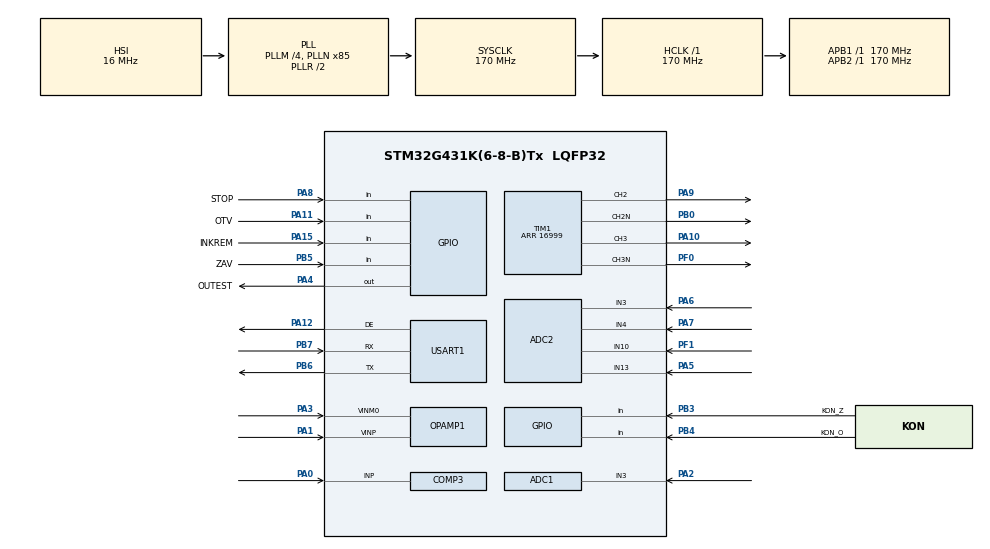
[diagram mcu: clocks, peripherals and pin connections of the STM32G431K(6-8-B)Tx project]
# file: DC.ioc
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ADC1.DMAContinuousRequests=DISABLE
ADC1.EOCSelection=ADC_EOC_SINGLE_CONV
ADC1.EnableInjectedConversion=ENABLE
ADC1.EnableRegularConversion=DISABLE
ADC1.ExternalTrigInjecConv=ADC_EXTERNALTRIGINJEC_T1_CC4
ADC1.InjNumberOfConversion=1
ADC1.InjectedChannel-1\#ChannelInjectedConversion=ADC_CHANNEL_3
ADC1.InjectedOffsetNumber-1\#ChannelInjectedConversion=ADC_OFFSET_NONE
ADC1.InjectedRank-1\#ChannelInjectedConversion=1
ADC1.InjectedSamplingTime-1\#ChannelInjectedConversion=ADC_SAMPLETIME_2CYCLES_5
ADC1.Rank1_Channel=ADC_CHANNEL_3
ADC1.master=1
ADC2.Channel-0\#ChannelRegularConversion=ADC_CHANNEL_3
ADC2.Channel-5\#ChannelRegularConversion=ADC_CHANNEL_4
ADC2.Channel-6\#ChannelRegularConversion=ADC_CHANNEL_10
ADC2.Channel-7\#ChannelRegularConversion=ADC_CHANNEL_13
ADC2.DMAContinuousRequests=ENABLE
ADC2.EOCSelection=ADC_EOC_SEQ_CONV
ADC2.EnableInjectedConversion=DISABLE
ADC2.ExternalTrigConv=ADC_EXTERNALTRIG_T4_TRGO
ADC2.NbrOfConversion=4
ADC2.NbrOfConversionFlag=1
ADC2.OffsetNumber-0\#ChannelRegularConversion=ADC_OFFSET_NONE
ADC2.OffsetNumber-5\#ChannelRegularConversion=ADC_OFFSET_NONE
ADC2.OffsetNumber-6\#ChannelRegularConversion=ADC_OFFSET_NONE
ADC2.OffsetNumber-7\#ChannelRegularConversion=ADC_OFFSET_NONE
ADC2.Rank-0\#ChannelRegularConversion=1
ADC2.Rank-5\#ChannelRegularConversion=2
ADC2.Rank-6\#ChannelRegularConversion=3
ADC2.Rank-7\#ChannelRegularConversion=4
ADC2.Rank1_Channel=ADC_CHANNEL_3
ADC2.Rank2_Channel=ADC_CHANNEL_4
ADC2.Rank3_Channel=ADC_CHANNEL_10
ADC2.Rank4_Channel=ADC_CHANNEL_13
ADC2.SamplingTime-0\#ChannelRegularConversion=ADC_SAMPLETIME_2CYCLES_5
ADC2.SamplingTime-5\#ChannelRegularConversion=ADC_SAMPLETIME_2CYCLES_5
ADC2.SamplingTime-6\#ChannelRegularConversion=ADC_SAMPLETIME_2CYCLES_5
ADC2.SamplingTime-7\#ChannelRegularConversion=ADC_SAMPLETIME_2CYCLES_5
COMP3.Hysteresis=COMP_HYSTERESIS_NONE
COMP3.OutputPol=COMP_OUTPUTPOL_NONINVERTED
COMP3.TriggerMode=COMP_TRIGGERMODE_NONE
Dma.ADC1.0.Direction=DMA_PERIPH_TO_MEMORY
Dma.ADC1.0.EventEnable=DISABLE
Dma.ADC1.0.Instance=DMA1_Channel1
Dma.ADC1.0.MemDataAlignment=DMA_MDATAALIGN_HALFWORD
Dma.ADC1.0.MemInc=DMA_MINC_ENABLE
Dma.ADC1.0.Mode=DMA_CIRCULAR
Dma.ADC1.0.PeriphDataAlignment=DMA_PDATAALIGN_HALFWORD
Dma.ADC1.0.PeriphInc=DMA_PINC_DISABLE
Dma.ADC1.0.Polarity=HAL_DMAMUX_REQ_GEN_RISING
Dma.ADC1.0.Priority=DMA_PRIORITY_LOW
Dma.ADC1.0.RequestNumber=1
Dma.ADC1.0.SignalID=NONE
Dma.ADC1.0.SyncEnable=ENABLE
Dma.ADC1.0.SyncPolarity=HAL_DMAMUX_SYNC_RISING
Dma.ADC1.0.SyncRequestNumber=1
Dma.ADC1.0.SyncSignalID=NONE
Dma.ADC2.1.Direction=DMA_PERIPH_TO_MEMORY
Dma.ADC2.1.EventEnable=DISABLE
Dma.ADC2.1.Instance=DMA1_Channel2
Dma.ADC2.1.MemDataAlignment=DMA_MDATAALIGN_HALFWORD
Dma.ADC2.1.MemInc=DMA_MINC_ENABLE
Dma.ADC2.1.Mode=DMA_CIRCULAR
Dma.ADC2.1.PeriphDataAlignment=DMA_PDATAALIGN_HALFWORD
Dma.ADC2.1.PeriphInc=DMA_PINC_DISABLE
Dma.ADC2.1.Polarity=HAL_DMAMUX_REQ_GEN_RISING
Dma.ADC2.1.Priority=DMA_PRIORITY_LOW
Dma.ADC2.1.RequestNumber=1
Dma.ADC2.1.SignalID=NONE
Dma.ADC2.1.SyncEnable=DISABLE
Dma.ADC2.1.SyncPolarity=HAL_DMAMUX_SYNC_NO_EVENT
Dma.ADC2.1.SyncRequestNumber=1
Dma.ADC2.1.SyncSignalID=NONE
Dma.Request0=ADC1
Dma.Request1=ADC2
Mcu.Family=STM32G4
Mcu.Name=STM32G431K(6-8-B)Tx
Mcu.Package=LQFP32
NVIC.DMA1_Channel1_IRQn=true\:0\:0\:false\:false\:true\:false\:true\:true
NVIC.DMA1_Channel2_IRQn=true\:0\:0\:false\:false\:true\:false\:true\:true
NVIC.DMAMUX_OVR_IRQn=true\:0\:0\:false\:false\:true\:false\:true\:true
NVIC.PriorityGroup=NVIC_PRIORITYGROUP_4
NVIC.TIM2_IRQn=true\:0\:0\:false\:false\:true\:true\:true\:true
NVIC.TIM3_IRQn=true\:0\:0\:false\:false\:true\:true\:true\:true
OPAMP1.PgaGain=OPAMP_PGA_GAIN_16_OR_MINUS_15
PA0.Mode=INP
PA0.Signal=COMP3_INP
PA1.Mode=PGA Connected
PA1.Signal=OPAMP1_VINP
PA10.Signal=S_TIM1_CH3
PA11.GPIO_Label=OTV
PA11.GPIO_PuPd=GPIO_PULLUP
PA11.Signal=GPIO_Input
PA12.Mode=Hardware Flow Control (RS485)
PA12.Signal=USART1_DE
PA13.Signal=SYS_JTMS-SWDIO
PA14.Signal=SYS_JTCK-SWCLK
PA15.GPIO_Label=INKREM
PA15.GPIO_PuPd=GPIO_PULLUP
PA15.Signal=GPIO_Input
PA2.Signal=SharedAnalog_PA2
PA3.Mode=PGA Connected
PA3.Signal=OPAMP1_VINM0
PA4.GPIO_Label=OUTEST
PA4.Signal=GPIO_Output
PA5.Mode=IN13-Single-Ended
PA5.Signal=ADC2_IN13
PA6.Mode=IN3-Single-Ended
PA6.Signal=ADC2_IN3
PA7.Mode=IN4-Single-Ended
PA7.Signal=ADC2_IN4
PA8.GPIO_Label=STOP
PA8.GPIO_PuPd=GPIO_PULLUP
PA8.Signal=GPIO_Input
PA9.Signal=S_TIM1_CH2
PB0.Mode=PWM Generation2 CH2 CH2N
PB0.Signal=TIM1_CH2N
PB3.GPIO_Label=KON_Z
PB3.GPIO_PuPd=GPIO_PULLUP
PB3.Signal=GPIO_Input
PB4.GPIO_Label=KON_O
PB4.GPIO_PuPd=GPIO_PULLUP
PB4.Signal=GPIO_Input
PB5.GPIO_Label=ZAV
PB5.GPIO_PuPd=GPIO_PULLUP
PB5.Signal=GPIO_Input
PB6.Mode=Asynchronous
PB6.Signal=USART1_TX
PB7.Mode=Asynchronous
PB7.Signal=USART1_RX
PF0-OSC_IN.Mode=PWM Generation3 CH3 CH3N
PF0-OSC_IN.Signal=TIM1_CH3N
PF1-OSC_OUT.Mode=IN10-Single-Ended
PF1-OSC_OUT.Signal=ADC2_IN10
ProjectManager.HeapSize=0x200
ProjectManager.StackSize=0x400
ProjectManager.TargetToolchain=STM32CubeIDE
RCC.ADC12Freq_Value=170000000
RCC.AHBFreq_Value=170000000
RCC.APB1Freq_Value=170000000
RCC.APB1TimFreq_Value=170000000
RCC.APB2Freq_Value=170000000
RCC.APB2TimFreq_Value=170000000
RCC.CK48CLockSelection=RCC_USBCLKSOURCE_HSI48
RCC.CortexFreq_Value=170000000
RCC.EXTERNAL_CLOCK_VALUE=12288000
RCC.HCLKFreq_Value=170000000
RCC.HSE_VALUE=8000000
RCC.HSI48_VALUE=48000000
RCC.HSI_VALUE=16000000
RCC.LSE_VALUE=32768
RCC.PLLM=RCC_PLLM_DIV4
RCC.PLLN=85
RCC.SYSCLKFreq_VALUE=170000000
RCC.SYSCLKSource=RCC_SYSCLKSOURCE_PLLCLK
RCC.USBFreq_Value=48000000
RCC.VCOOutputFreq_Value=340000000
SH.S_TIM1_CH2.0=TIM1_CH2,PWM Generation2 CH2 CH2N
SH.S_TIM1_CH3.0=TIM1_CH3,PWM Generation3 CH3 CH3N
SH.SharedAnalog_PA2.0=GPIO_Analog
SH.SharedAnalog_PA2.1=ADC1_IN3,IN3-Single-Ended
SH.SharedAnalog_PA2.2=OPAMP1_VOUT,PGA Connected
TIM1.AutomaticOutput=TIM_AUTOMATICOUTPUT_ENABLE
TIM1.Channel-Output\ Compare4\ No\ Output=TIM_CHANNEL_4
TIM1.Channel-PWM\ Generation2\ CH2\ CH2N=TIM_CHANNEL_2
TIM1.Channel-PWM\ Generation3\ CH3\ CH3N=TIM_CHANNEL_3
TIM1.PeriodNoDither=16999
TIM1.TIM_MasterOutputTrigger=TIM_TRGO_UPDATE
TIM2.PeriodNoDither=2499
TIM2.Prescaler=16999
TIM3.PeriodNoDither=9
TIM3.Prescaler=16999
TIM4.PeriodNoDither=249
TIM4.Prescaler=16999
TIM4.TIM_MasterOutputTrigger=TIM_TRGO_UPDATE
TIM4.TIM_MasterSlaveMode=TIM_MASTERSLAVEMODE_DISABLE
USART1.VirtualMode-Asynchronous=VM_ASYNC
USART1.VirtualMode-Hardware\ Flow\ Control\ (RS485)=VM_ASYNC
VP_COMP3_VS_DAC1OUT1.Mode=INM_DAC1OUT1
VP_DAC1_VS_DACI1.Mode=DAC_OUT1_Int
VP_SYS_VS_DBSignals.Mode=DisableDeadBatterySignals
VP_TIM1_VS_ClockSourceINT.Mode=Internal
VP_TIM1_VS_no_output4.Mode=Output Compare4 No Output
VP_TIM2_VS_ClockSourceINT.Mode=Internal
VP_TIM3_VS_ClockSourceINT.Mode=Internal
VP_TIM4_VS_ClockSourceINT.Mode=Internal
board=custom

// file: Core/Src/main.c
/* USER CODE BEGIN Header */
/**
  ******************************************************************************
  * @file           : main.c
  * @brief          : Main program body
  ******************************************************************************
  * @attention
  *
  * Copyright (c) 2026 STMicroelectronics.
  * All rights reserved.
  *
  * This software is licensed under terms that can be found in the LICENSE file
  * in the root directory of this software component.
  * If no LICENSE file comes with this software, it is provided AS-IS.
  *
  ******************************************************************************
  */
/* USER CODE END Header */
#include "main.h"

/* USER CODE BEGIN Includes */
#include "motor.h"
/* USER CODE END Includes */

ADC_HandleTypeDef hadc1;
ADC_HandleTypeDef hadc2;
DMA_HandleTypeDef hdma_adc1;
DMA_HandleTypeDef hdma_adc2;

COMP_HandleTypeDef hcomp3;

DAC_HandleTypeDef hdac1;

OPAMP_HandleTypeDef hopamp1;

TIM_HandleTypeDef htim1;
TIM_HandleTypeDef htim2;
TIM_HandleTypeDef htim3;
TIM_HandleTypeDef htim4;

UART_HandleTypeDef huart1;

/* USER CODE BEGIN PV */
int atest;
ADC_ChannelConfTypeDef newConfig;
volatile uint16_t ADC1_LastValue = 0U;
volatile uint16_t ADC1_DMA_Buffer[ADC1_DMA_BUFFER_LENGTH];
volatile uint16_t ADC2_DMA_Buffer[ADC2_DMA_BUFFER_LENGTH];
volatile uint32_t ADC1_Sum = 0U;
volatile uint32_t ADC1_MaxSum = 0U;
static volatile bool ADC2READY;
volatile uint32_t ADC1_CallbackCount = 0;
volatile uint32_t ADC2_CallbackCount = 0;
/* USER CODE END PV */

void SystemClock_Config(void);
static void MX_GPIO_Init(void);
static void MX_DMA_Init(void);
static void MX_TIM1_Init(void);
static void MX_OPAMP1_Init(void);
static void MX_ADC2_Init(void);
static void MX_COMP3_Init(void);
static void MX_ADC1_Init(void);
static void MX_USART1_UART_Init(void);
static void MX_TIM2_Init(void);
static void MX_TIM3_Init(void);
static void MX_DAC1_Init(void);
static void MX_TIM4_Init(void);

int main(void)
{

  /* MCU Configuration--------------------------------------------------------*/

  /* Reset of all peripherals, Initializes the Flash interface and the Systick. */
  HAL_Init();

  /* Configure the system clock */
  SystemClock_Config();

  /* Initialize all configured peripherals */
  MX_GPIO_Init();
  MX_DMA_Init();
  MX_TIM1_Init();
  MX_OPAMP1_Init();
  MX_ADC2_Init();
  MX_COMP3_Init();
  MX_ADC1_Init();
  MX_USART1_UART_Init();
  MX_TIM2_Init();
  MX_TIM3_Init();
  MX_DAC1_Init();
  MX_TIM4_Init();
  /* USER CODE BEGIN 2 */

  __HAL_TIM_SET_COMPARE(&htim1, TIM_CHANNEL_4, 0U);
  __HAL_TIM_SET_COMPARE(&htim1, TIM_CHANNEL_5, MOTOR_COMP_BLANKING_TICKS);
  /* Nastavení konstantního prahu COMP3 pomocí DAC1_CH1 */
  if (HAL_DAC_Start(&hdac1, DAC_CHANNEL_1) != HAL_OK)
  { Error_Handler(); }
  if (HAL_DAC_SetValue(&hdac1, DAC_CHANNEL_1, DAC_ALIGN_12B_R, MOTOR_COMP_THRESHOLD_DAC) != HAL_OK)
  { Error_Handler(); }

  HAL_OPAMP_Start(&hopamp1);
  if (HAL_ADC_Start_DMA(&hadc1, (uint32_t *)ADC1_DMA_Buffer, ADC1_DMA_BUFFER_LENGTH) != HAL_OK)
  { Error_Handler(); }
  __HAL_DMA_DISABLE_IT(&hdma_adc1, DMA_IT_HT);
  if (HAL_ADC_Start_DMA(&hadc2, (uint32_t *)ADC2_DMA_Buffer, ADC2_DMA_BUFFER_LENGTH) != HAL_OK)
    { Error_Handler(); }
    __HAL_DMA_DISABLE_IT(&hdma_adc2, DMA_IT_HT);
  HAL_COMP_Start(&hcomp3);//t
  HAL_TIM_PWM_Start(&htim1, TIM_CHANNEL_4);
  HAL_TIM_PWM_Start(&htim1, TIM_CHANNEL_5);
  HAL_TIM_PWM_Start(&htim1, TIM_CHANNEL_2);
  HAL_TIMEx_PWMN_Start(&htim1, TIM_CHANNEL_2);
  HAL_TIM_PWM_Start(&htim1, TIM_CHANNEL_3);
  HAL_TIMEx_PWMN_Start(&htim1, TIM_CHANNEL_3);
  HAL_TIM_Base_Start_IT(&htim2);
  HAL_TIM_Base_Start_IT(&htim3);
  HAL_TIM_Base_Start(&htim4);
  /* USER CODE END 2 */

  /* Infinite loop */
  while (1)
  {

    /* USER CODE BEGIN 3 */
	  atest++;
	  if(ADC2READY)
	  {
	 	ADC2calc();
	 	ADC2READY= false;
	  }
  }
  /* USER CODE END 3 */
}

void SystemClock_Config(void)
{
  RCC_OscInitTypeDef RCC_OscInitStruct = {0};
  RCC_ClkInitTypeDef RCC_ClkInitStruct = {0};

  /** Configure the main internal regulator output voltage
  */
  HAL_PWREx_ControlVoltageScaling(PWR_REGULATOR_VOLTAGE_SCALE1_BOOST);

  /** Initializes the RCC Oscillators according to the specified parameters
  * in the RCC_OscInitTypeDef structure.
  */
  RCC_OscInitStruct.OscillatorType = RCC_OSCILLATORTYPE_HSI;
  RCC_OscInitStruct.HSIState = RCC_HSI_ON;
  RCC_OscInitStruct.HSICalibrationValue = RCC_HSICALIBRATION_DEFAULT;
  RCC_OscInitStruct.PLL.PLLState = RCC_PLL_ON;
  RCC_OscInitStruct.PLL.PLLSource = RCC_PLLSOURCE_HSI;
  RCC_OscInitStruct.PLL.PLLM = RCC_PLLM_DIV4;
  RCC_OscInitStruct.PLL.PLLN = 85;
  RCC_OscInitStruct.PLL.PLLP = RCC_PLLP_DIV2;
  RCC_OscInitStruct.PLL.PLLQ = RCC_PLLQ_DIV2;
  RCC_OscInitStruct.PLL.PLLR = RCC_PLLR_DIV2;
  if (HAL_RCC_OscConfig(&RCC_OscInitStruct) != HAL_OK)
  {
    Error_Handler();
  }

  /** Initializes the CPU, AHB and APB buses clocks
  */
  RCC_ClkInitStruct.ClockType = RCC_CLOCKTYPE_HCLK|RCC_CLOCKTYPE_SYSCLK
                              |RCC_CLOCKTYPE_PCLK1|RCC_CLOCKTYPE_PCLK2;
  RCC_ClkInitStruct.SYSCLKSource = RCC_SYSCLKSOURCE_PLLCLK;
  RCC_ClkInitStruct.AHBCLKDivider = RCC_SYSCLK_DIV1;
  RCC_ClkInitStruct.APB1CLKDivider = RCC_HCLK_DIV1;
  RCC_ClkInitStruct.APB2CLKDivider = RCC_HCLK_DIV1;

  if (HAL_RCC_ClockConfig(&RCC_ClkInitStruct, FLASH_LATENCY_4) != HAL_OK)
  {
    Error_Handler();
  }
}

static void MX_ADC1_Init(void)
{

  ADC_MultiModeTypeDef multimode = {0};
  ADC_InjectionConfTypeDef sConfigInjected = {0};

  /** Common config
  */
  hadc1.Instance = ADC1;
  hadc1.Init.ClockPrescaler = ADC_CLOCK_SYNC_PCLK_DIV4;
  hadc1.Init.Resolution = ADC_RESOLUTION_12B;
  hadc1.Init.DataAlign = ADC_DATAALIGN_RIGHT;
  hadc1.Init.GainCompensation = 0;
  hadc1.Init.ScanConvMode = ADC_SCAN_DISABLE;
  hadc1.Init.EOCSelection = ADC_EOC_SINGLE_CONV;
  hadc1.Init.LowPowerAutoWait = DISABLE;
  hadc1.Init.ContinuousConvMode = DISABLE;
  hadc1.Init.NbrOfConversion = 1;
  hadc1.Init.DiscontinuousConvMode = DISABLE;
  hadc1.Init.DMAContinuousRequests = DISABLE;
  hadc1.Init.Overrun = ADC_OVR_DATA_PRESERVED;
  hadc1.Init.OversamplingMode = DISABLE;
  if (HAL_ADC_Init(&hadc1) != HAL_OK)
  {
    Error_Handler();
  }

  /** Configure the ADC multi-mode
  */
  multimode.Mode = ADC_MODE_INDEPENDENT;
  if (HAL_ADCEx_MultiModeConfigChannel(&hadc1, &multimode) != HAL_OK)
  {
    Error_Handler();
  }

  /** Configure Injected Channel
  */
  sConfigInjected.InjectedChannel = ADC_CHANNEL_3;
  sConfigInjected.InjectedRank = ADC_INJECTED_RANK_1;
  sConfigInjected.InjectedSamplingTime = ADC_SAMPLETIME_2CYCLES_5;
  sConfigInjected.InjectedSingleDiff = ADC_SINGLE_ENDED;
  sConfigInjected.InjectedOffsetNumber = ADC_OFFSET_NONE;
  sConfigInjected.InjectedOffset = 0;
  sConfigInjected.InjectedNbrOfConversion = 1;
  sConfigInjected.InjectedDiscontinuousConvMode = DISABLE;
  sConfigInjected.AutoInjectedConv = DISABLE;
  sConfigInjected.QueueInjectedContext = DISABLE;
  sConfigInjected.ExternalTrigInjecConv = ADC_EXTERNALTRIGINJEC_T1_CC4;
  sConfigInjected.ExternalTrigInjecConvEdge = ADC_EXTERNALTRIGINJECCONV_EDGE_RISING;
  sConfigInjected.InjecOversamplingMode = DISABLE;
  if (HAL_ADCEx_InjectedConfigChannel(&hadc1, &sConfigInjected) != HAL_OK)
  {
    Error_Handler();
  }

}

static void MX_ADC2_Init(void)
{

  ADC_ChannelConfTypeDef sConfig = {0};

  /** Common config
  */
  hadc2.Instance = ADC2;
  hadc2.Init.ClockPrescaler = ADC_CLOCK_SYNC_PCLK_DIV4;
  hadc2.Init.Resolution = ADC_RESOLUTION_12B;
  hadc2.Init.DataAlign = ADC_DATAALIGN_RIGHT;
  hadc2.Init.GainCompensation = 0;
  hadc2.Init.ScanConvMode = ADC_SCAN_ENABLE;
  hadc2.Init.EOCSelection = ADC_EOC_SEQ_CONV;
  hadc2.Init.LowPowerAutoWait = DISABLE;
  hadc2.Init.ContinuousConvMode = DISABLE;
  hadc2.Init.NbrOfConversion = 4;
  hadc2.Init.DiscontinuousConvMode = DISABLE;
  hadc2.Init.ExternalTrigConv = ADC_EXTERNALTRIG_T4_TRGO;
  hadc2.Init.ExternalTrigConvEdge = ADC_EXTERNALTRIGCONVEDGE_RISING;
  hadc2.Init.DMAContinuousRequests = ENABLE;
  hadc2.Init.Overrun = ADC_OVR_DATA_PRESERVED;
  hadc2.Init.OversamplingMode = DISABLE;
  if (HAL_ADC_Init(&hadc2) != HAL_OK)
  {
    Error_Handler();
  }

  /** Configure Regular Channel
  */
  sConfig.Channel = ADC_CHANNEL_3;
  sConfig.Rank = ADC_REGULAR_RANK_1;
  sConfig.SamplingTime = ADC_SAMPLETIME_2CYCLES_5;
  sConfig.SingleDiff = ADC_SINGLE_ENDED;
  sConfig.OffsetNumber = ADC_OFFSET_NONE;
  sConfig.Offset = 0;
  if (HAL_ADC_ConfigChannel(&hadc2, &sConfig) != HAL_OK)
  {
    Error_Handler();
  }

  /** Configure Regular Channel
  */
  sConfig.Channel = ADC_CHANNEL_4;
  sConfig.Rank = ADC_REGULAR_RANK_2;
  if (HAL_ADC_ConfigChannel(&hadc2, &sConfig) != HAL_OK)
  {
    Error_Handler();
  }

  /** Configure Regular Channel
  */
  sConfig.Channel = ADC_CHANNEL_10;
  sConfig.Rank = ADC_REGULAR_RANK_3;
  if (HAL_ADC_ConfigChannel(&hadc2, &sConfig) != HAL_OK)
  {
    Error_Handler();
  }

  /** Configure Regular Channel
  */
  sConfig.Channel = ADC_CHANNEL_13;
  sConfig.Rank = ADC_REGULAR_RANK_4;
  if (HAL_ADC_ConfigChannel(&hadc2, &sConfig) != HAL_OK)
  {
    Error_Handler();
  }
  /* USER CODE BEGIN ADC2_Init 2 */
  newConfig= sConfig;

  /* USER CODE END ADC2_Init 2 */

}

static void MX_COMP3_Init(void)
{

  /* USER CODE BEGIN COMP3_Init 1 */
  //	hcomp3.Init.BlankingSrce =COMP_BLANKINGSRC_TIM1_OC5_COMP3;
  /* USER CODE END COMP3_Init 1 */
  hcomp3.Instance = COMP3;
  hcomp3.Init.InputPlus = COMP_INPUT_PLUS_IO1;
  hcomp3.Init.InputMinus = COMP_INPUT_MINUS_DAC1_CH1;
  hcomp3.Init.OutputPol = COMP_OUTPUTPOL_NONINVERTED;
  hcomp3.Init.Hysteresis = COMP_HYSTERESIS_NONE;
  hcomp3.Init.BlankingSrce = COMP_BLANKINGSRC_NONE;
  hcomp3.Init.TriggerMode = COMP_TRIGGERMODE_NONE;
  if (HAL_COMP_Init(&hcomp3) != HAL_OK)
  {
    Error_Handler();
  }
  /* USER CODE BEGIN COMP3_Init 2 */

 //hcomp3.Init.BlankingSrce =COMP_BLANKINGSRC_TIM1_OC5_COMP3;
  MODIFY_REG(COMP3->CSR, COMP_CSR_BLANKING, COMP_BLANKINGSRC_TIM1_OC5_COMP3);
  /* USER CODE END COMP3_Init 2 */

}

static void MX_DAC1_Init(void)
{

  DAC_ChannelConfTypeDef sConfig = {0};

  /** DAC Initialization
  */
  hdac1.Instance = DAC1;
  if (HAL_DAC_Init(&hdac1) != HAL_OK)
  {
    Error_Handler();
  }

  /** DAC channel OUT1 config
  */
  sConfig.DAC_HighFrequency = DAC_HIGH_FREQUENCY_INTERFACE_MODE_AUTOMATIC;
  sConfig.DAC_DMADoubleDataMode = DISABLE;
  sConfig.DAC_SignedFormat = DISABLE;
  sConfig.DAC_SampleAndHold = DAC_SAMPLEANDHOLD_DISABLE;
  sConfig.DAC_Trigger = DAC_TRIGGER_NONE;
  sConfig.DAC_Trigger2 = DAC_TRIGGER_NONE;
  sConfig.DAC_OutputBuffer = DAC_OUTPUTBUFFER_DISABLE;
  sConfig.DAC_ConnectOnChipPeripheral = DAC_CHIPCONNECT_INTERNAL;
  sConfig.DAC_UserTrimming = DAC_TRIMMING_FACTORY;
  if (HAL_DAC_ConfigChannel(&hdac1, &sConfig, DAC_CHANNEL_1) != HAL_OK)
  {
    Error_Handler();
  }

}

static void MX_OPAMP1_Init(void)
{

  hopamp1.Instance = OPAMP1;
  hopamp1.Init.PowerMode = OPAMP_POWERMODE_NORMALSPEED;
  hopamp1.Init.Mode = OPAMP_PGA_MODE;
  hopamp1.Init.NonInvertingInput = OPAMP_NONINVERTINGINPUT_IO0;
  hopamp1.Init.InternalOutput = DISABLE;
  hopamp1.Init.TimerControlledMuxmode = OPAMP_TIMERCONTROLLEDMUXMODE_DISABLE;
  hopamp1.Init.PgaConnect = OPAMP_PGA_CONNECT_INVERTINGINPUT_IO0;
  hopamp1.Init.PgaGain = OPAMP_PGA_GAIN_16_OR_MINUS_15;
  hopamp1.Init.UserTrimming = OPAMP_TRIMMING_FACTORY;
  if (HAL_OPAMP_Init(&hopamp1) != HAL_OK)
  {
    Error_Handler();
  }
  /* USER CODE BEGIN OPAMP1_Init 2 */
  //hopamp1.Init.InternalOutput = DISABLE;
  /* USER CODE END OPAMP1_Init 2 */

}

static void MX_TIM1_Init(void)
{

  TIM_ClockConfigTypeDef sClockSourceConfig = {0};
  TIM_MasterConfigTypeDef sMasterConfig = {0};
  TIM_OC_InitTypeDef sConfigOC = {0};
  TIM_BreakDeadTimeConfigTypeDef sBreakDeadTimeConfig = {0};

  htim1.Instance = TIM1;
  htim1.Init.Prescaler = 0;
  htim1.Init.CounterMode = TIM_COUNTERMODE_UP;
  htim1.Init.Period = 16999;
  htim1.Init.ClockDivision = TIM_CLOCKDIVISION_DIV1;
  htim1.Init.RepetitionCounter = 0;
  htim1.Init.AutoReloadPreload = TIM_AUTORELOAD_PRELOAD_DISABLE;
  if (HAL_TIM_Base_Init(&htim1) != HAL_OK)
  {
    Error_Handler();
  }
  sClockSourceConfig.ClockSource = TIM_CLOCKSOURCE_INTERNAL;
  if (HAL_TIM_ConfigClockSource(&htim1, &sClockSourceConfig) != HAL_OK)
  {
    Error_Handler();
  }
  if (HAL_TIM_PWM_Init(&htim1) != HAL_OK)
  {
    Error_Handler();
  }
  if (HAL_TIM_OC_Init(&htim1) != HAL_OK)
  {
    Error_Handler();
  }
  sMasterConfig.MasterOutputTrigger = TIM_TRGO_UPDATE;
  sMasterConfig.MasterOutputTrigger2 = TIM_TRGO2_RESET;
  sMasterConfig.MasterSlaveMode = TIM_MASTERSLAVEMODE_DISABLE;
  if (HAL_TIMEx_MasterConfigSynchronization(&htim1, &sMasterConfig) != HAL_OK)
  {
    Error_Handler();
  }
  sConfigOC.OCMode = TIM_OCMODE_PWM1;
  sConfigOC.Pulse = 0;
  sConfigOC.OCPolarity = TIM_OCPOLARITY_HIGH;
  sConfigOC.OCNPolarity = TIM_OCNPOLARITY_HIGH;
  sConfigOC.OCFastMode = TIM_OCFAST_DISABLE;
  sConfigOC.OCIdleState = TIM_OCIDLESTATE_RESET;
  sConfigOC.OCNIdleState = TIM_OCNIDLESTATE_RESET;
  if (HAL_TIM_PWM_ConfigChannel(&htim1, &sConfigOC, TIM_CHANNEL_2) != HAL_OK)
  {
    Error_Handler();
  }
  if (HAL_TIM_PWM_ConfigChannel(&htim1, &sConfigOC, TIM_CHANNEL_3) != HAL_OK)
  {
    Error_Handler();
  }
  sConfigOC.OCMode = TIM_OCMODE_TIMING;
  if (HAL_TIM_OC_ConfigChannel(&htim1, &sConfigOC, TIM_CHANNEL_4) != HAL_OK)
  {
    Error_Handler();
  }
  sBreakDeadTimeConfig.OffStateRunMode = TIM_OSSR_DISABLE;
  sBreakDeadTimeConfig.OffStateIDLEMode = TIM_OSSI_DISABLE;
  sBreakDeadTimeConfig.LockLevel = TIM_LOCKLEVEL_OFF;
  sBreakDeadTimeConfig.DeadTime = 0;
  sBreakDeadTimeConfig.BreakState = TIM_BREAK_DISABLE;
  sBreakDeadTimeConfig.BreakPolarity = TIM_BREAKPOLARITY_HIGH;
  sBreakDeadTimeConfig.BreakFilter = 0;
  sBreakDeadTimeConfig.BreakAFMode = TIM_BREAK_AFMODE_INPUT;
  sBreakDeadTimeConfig.Break2State = TIM_BREAK2_DISABLE;
  sBreakDeadTimeConfig.Break2Polarity = TIM_BREAK2POLARITY_HIGH;
  sBreakDeadTimeConfig.Break2Filter = 0;
  sBreakDeadTimeConfig.Break2AFMode = TIM_BREAK_AFMODE_INPUT;
  sBreakDeadTimeConfig.AutomaticOutput = TIM_AUTOMATICOUTPUT_ENABLE;
  if (HAL_TIMEx_ConfigBreakDeadTime(&htim1, &sBreakDeadTimeConfig) != HAL_OK)
  {
    Error_Handler();
  }
  /* USER CODE BEGIN TIM1_Init 2 */
  TIM_ClearInputConfigTypeDef sClearInputConfig = {0};

  sConfigOC.OCMode = TIM_OCMODE_PWM1;
  sConfigOC.Pulse = MOTOR_COMP_BLANKING_TICKS;
  if (HAL_TIM_PWM_ConfigChannel(&htim1, &sConfigOC, TIM_CHANNEL_5) != HAL_OK)
  {
    Error_Handler();
  }

  sClearInputConfig.ClearInputState = ENABLE;
  sClearInputConfig.ClearInputSource = TIM_CLEARINPUTSOURCE_COMP3;
  sClearInputConfig.ClearInputPolarity = TIM_CLEARINPUTPOLARITY_NONINVERTED;
  sClearInputConfig.ClearInputPrescaler = TIM_CLEARINPUTPRESCALER_DIV1;
  sClearInputConfig.ClearInputFilter = 2;

  if (HAL_TIM_ConfigOCrefClear(&htim1, &sClearInputConfig, TIM_CHANNEL_2) != HAL_OK)
  {
    Error_Handler();
  }
  if (HAL_TIM_ConfigOCrefClear(&htim1, &sClearInputConfig, TIM_CHANNEL_3) != HAL_OK)
  {
    Error_Handler();
  }

  /* USER CODE END TIM1_Init 2 */
  HAL_TIM_MspPostInit(&htim1);

}

static void MX_TIM2_Init(void)
{

  TIM_ClockConfigTypeDef sClockSourceConfig = {0};
  TIM_MasterConfigTypeDef sMasterConfig = {0};

  htim2.Instance = TIM2;
  htim2.Init.Prescaler = 16999;
  htim2.Init.CounterMode = TIM_COUNTERMODE_UP;
  htim2.Init.Period = 2499;
  htim2.Init.ClockDivision = TIM_CLOCKDIVISION_DIV1;
  htim2.Init.AutoReloadPreload = TIM_AUTORELOAD_PRELOAD_DISABLE;
  if (HAL_TIM_Base_Init(&htim2) != HAL_OK)
  {
    Error_Handler();
  }
  sClockSourceConfig.ClockSource = TIM_CLOCKSOURCE_INTERNAL;
  if (HAL_TIM_ConfigClockSource(&htim2, &sClockSourceConfig) != HAL_OK)
  {
    Error_Handler();
  }
  sMasterConfig.MasterOutputTrigger = TIM_TRGO_RESET;
  sMasterConfig.MasterSlaveMode = TIM_MASTERSLAVEMODE_DISABLE;
  if (HAL_TIMEx_MasterConfigSynchronization(&htim2, &sMasterConfig) != HAL_OK)
  {
    Error_Handler();
  }

}

static void MX_TIM3_Init(void)
{

  TIM_ClockConfigTypeDef sClockSourceConfig = {0};
  TIM_MasterConfigTypeDef sMasterConfig = {0};

  htim3.Instance = TIM3;
  htim3.Init.Prescaler = 16999;
  htim3.Init.CounterMode = TIM_COUNTERMODE_UP;
  htim3.Init.Period = 9;
  htim3.Init.ClockDivision = TIM_CLOCKDIVISION_DIV1;
  htim3.Init.AutoReloadPreload = TIM_AUTORELOAD_PRELOAD_DISABLE;
  if (HAL_TIM_Base_Init(&htim3) != HAL_OK)
  {
    Error_Handler();
  }
  sClockSourceConfig.ClockSource = TIM_CLOCKSOURCE_INTERNAL;
  if (HAL_TIM_ConfigClockSource(&htim3, &sClockSourceConfig) != HAL_OK)
  {
    Error_Handler();
  }
  sMasterConfig.MasterOutputTrigger = TIM_TRGO_RESET;
  sMasterConfig.MasterSlaveMode = TIM_MASTERSLAVEMODE_DISABLE;
  if (HAL_TIMEx_MasterConfigSynchronization(&htim3, &sMasterConfig) != HAL_OK)
  {
    Error_Handler();
  }

}

static void MX_TIM4_Init(void)
{

  TIM_ClockConfigTypeDef sClockSourceConfig = {0};
  TIM_MasterConfigTypeDef sMasterConfig = {0};

  htim4.Instance = TIM4;
  htim4.Init.Prescaler = 16999;
  htim4.Init.CounterMode = TIM_COUNTERMODE_UP;
  htim4.Init.Period = 249;
  htim4.Init.ClockDivision = TIM_CLOCKDIVISION_DIV1;
  htim4.Init.AutoReloadPreload = TIM_AUTORELOAD_PRELOAD_DISABLE;
  if (HAL_TIM_Base_Init(&htim4) != HAL_OK)
  {
    Error_Handler();
  }
  sClockSourceConfig.ClockSource = TIM_CLOCKSOURCE_INTERNAL;
  if (HAL_TIM_ConfigClockSource(&htim4, &sClockSourceConfig) != HAL_OK)
  {
    Error_Handler();
  }
  sMasterConfig.MasterOutputTrigger = TIM_TRGO_UPDATE;
  sMasterConfig.MasterSlaveMode = TIM_MASTERSLAVEMODE_DISABLE;
  if (HAL_TIMEx_MasterConfigSynchronization(&htim4, &sMasterConfig) != HAL_OK)
  {
    Error_Handler();
  }

}

static void MX_USART1_UART_Init(void)
{

  huart1.Instance = USART1;
  huart1.Init.BaudRate = 115200;
  huart1.Init.WordLength = UART_WORDLENGTH_8B;
  huart1.Init.StopBits = UART_STOPBITS_1;
  huart1.Init.Parity = UART_PARITY_NONE;
  huart1.Init.Mode = UART_MODE_TX_RX;
  huart1.Init.HwFlowCtl = UART_HWCONTROL_NONE;
  huart1.Init.OverSampling = UART_OVERSAMPLING_16;
  huart1.Init.OneBitSampling = UART_ONE_BIT_SAMPLE_DISABLE;
  huart1.Init.ClockPrescaler = UART_PRESCALER_DIV1;
  huart1.AdvancedInit.AdvFeatureInit = UART_ADVFEATURE_NO_INIT;
  if (HAL_RS485Ex_Init(&huart1, UART_DE_POLARITY_HIGH, 0, 0) != HAL_OK)
  {
    Error_Handler();
  }
  if (HAL_UARTEx_SetTxFifoThreshold(&huart1, UART_TXFIFO_THRESHOLD_1_8) != HAL_OK)
  {
    Error_Handler();
  }
  if (HAL_UARTEx_SetRxFifoThreshold(&huart1, UART_RXFIFO_THRESHOLD_1_8) != HAL_OK)
  {
    Error_Handler();
  }
  if (HAL_UARTEx_DisableFifoMode(&huart1) != HAL_OK)
  {
    Error_Handler();
  }

}

static void MX_DMA_Init(void)
{

  /* DMA controller clock enable */
  __HAL_RCC_DMAMUX1_CLK_ENABLE();
  __HAL_RCC_DMA1_CLK_ENABLE();

  /* DMA interrupt init */
  /* DMA1_Channel1_IRQn interrupt configuration */
  HAL_NVIC_SetPriority(DMA1_Channel1_IRQn, 0, 0);
  HAL_NVIC_EnableIRQ(DMA1_Channel1_IRQn);
  /* DMA1_Channel2_IRQn interrupt configuration */
  HAL_NVIC_SetPriority(DMA1_Channel2_IRQn, 0, 0);
  HAL_NVIC_EnableIRQ(DMA1_Channel2_IRQn);
  /* DMAMUX_OVR_IRQn interrupt configuration */
  HAL_NVIC_SetPriority(DMAMUX_OVR_IRQn, 0, 0);
  HAL_NVIC_EnableIRQ(DMAMUX_OVR_IRQn);

}

static void MX_GPIO_Init(void)
{
  GPIO_InitTypeDef GPIO_InitStruct = {0};

  /* GPIO Ports Clock Enable */
  __HAL_RCC_GPIOF_CLK_ENABLE();
  __HAL_RCC_GPIOA_CLK_ENABLE();
  __HAL_RCC_GPIOB_CLK_ENABLE();

  /*Configure GPIO pin Output Level */
  HAL_GPIO_WritePin(OUTEST_GPIO_Port, OUTEST_Pin, GPIO_PIN_RESET);

  /*Configure GPIO pin : OUTEST_Pin */
  GPIO_InitStruct.Pin = OUTEST_Pin;
  GPIO_InitStruct.Mode = GPIO_MODE_OUTPUT_PP;
  GPIO_InitStruct.Pull = GPIO_NOPULL;
  GPIO_InitStruct.Speed = GPIO_SPEED_FREQ_LOW;
  HAL_GPIO_Init(OUTEST_GPIO_Port, &GPIO_InitStruct);

  /*Configure GPIO pins : STOP_Pin OTV_Pin INKREM_Pin */
  GPIO_InitStruct.Pin = STOP_Pin|OTV_Pin|INKREM_Pin;
  GPIO_InitStruct.Mode = GPIO_MODE_INPUT;
  GPIO_InitStruct.Pull = GPIO_PULLUP;
  HAL_GPIO_Init(GPIOA, &GPIO_InitStruct);

  /*Configure GPIO pins : KON_Z_Pin KON_O_Pin ZAV_Pin */
  GPIO_InitStruct.Pin = KON_Z_Pin|KON_O_Pin|ZAV_Pin;
  GPIO_InitStruct.Mode = GPIO_MODE_INPUT;
  GPIO_InitStruct.Pull = GPIO_PULLUP;
  HAL_GPIO_Init(GPIOB, &GPIO_InitStruct);

}

/* USER CODE BEGIN 4 */
void HAL_ADC_ConvCpltCallback(ADC_HandleTypeDef *hadc)
{
    if (hadc->Instance == ADC1)
    {
        uint32_t sum = 0U;
        ADC1_CallbackCount++;
        for (uint32_t i = 0U; i < ADC1_DMA_BUFFER_LENGTH; i++)
        {
            sum += ADC1_DMA_Buffer[i];
        }

        ADC1_Sum = sum;

        if (sum > ADC1_MaxSum)
        {
            ADC1_MaxSum = sum;
        }
    }
    else if (hadc->Instance == ADC2)
    {
    	ADC2_CallbackCount++;
    	ADC2READY= true;
    }

}
/* USER CODE END 4 */

void Error_Handler(void)
{
  __disable_irq();
  while (1)
  {
  }
}
